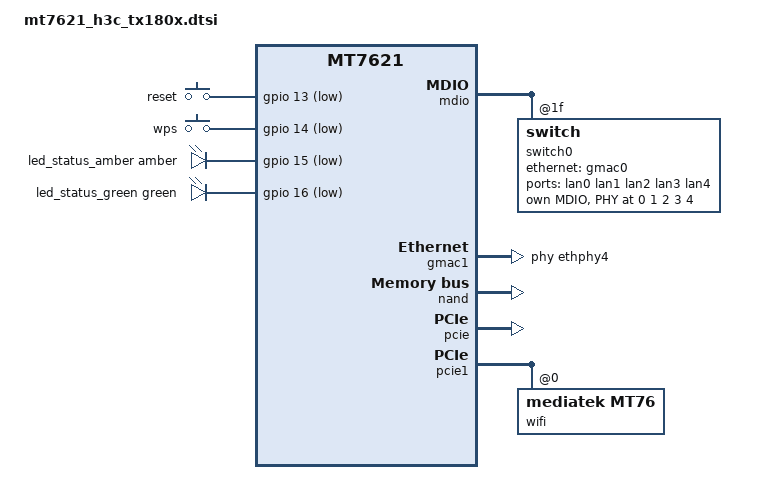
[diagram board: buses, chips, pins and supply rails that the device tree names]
// SPDX-License-Identifier: GPL-2.0-or-later OR MIT

#include "mt7621.dtsi"

#include <dt-bindings/gpio/gpio.h>
#include <dt-bindings/input/input.h>
#include <dt-bindings/leds/common.h>

/ {
	aliases {
		led-boot = &led_status_amber;
		led-failsafe = &led_status_green;
		led-running = &led_status_green;
		led-upgrade = &led_status_amber;
	};

	chosen {
		bootargs = "console=ttyS0,115200";
		bootargs-override = "console=ttyS0,115200";
	};

	keys {
		compatible = "gpio-keys";

		reset {
			label = "reset";
			gpios = <&gpio 13 GPIO_ACTIVE_LOW>;
			linux,code = <KEY_RESTART>;
		};

		wps {
			label = "wps";
			gpios = <&gpio 14 GPIO_ACTIVE_LOW>;
			linux,code = <KEY_WPS_BUTTON>;
		};
	};

	leds {
		compatible = "gpio-leds";

		led_status_amber: led-0 {
			color = <LED_COLOR_ID_AMBER>;
			function = LED_FUNCTION_STATUS;
			gpios = <&gpio 15 GPIO_ACTIVE_LOW>;
		};

		led_status_green: led-1 {
			color = <LED_COLOR_ID_GREEN>;
			function = LED_FUNCTION_STATUS;
			gpios = <&gpio 16 GPIO_ACTIVE_LOW>;
		};
	};
};

&mdio {
	#address-cells = <1>;
	#size-cells = <0>;

	switch0: switch@1f {
		mdio {
			#address-cells = <1>;
			#size-cells = <0>;

			ethphy0: ethernet-phy@0 {
				reg = <0>;
				interrupts = <0>;
			};

			ethphy1: ethernet-phy@1 {
				reg = <1>;
				interrupts = <1>;
			};

			ethphy2: ethernet-phy@2 {
				reg = <2>;
				interrupts = <2>;
			};

			ethphy3: ethernet-phy@3 {
				reg = <3>;
				interrupts = <3>;
			};

			ethphy4: ethernet-phy@4 {
				reg = <4>;
				interrupts = <4>;
			};
		};

		ports {
			#address-cells = <1>;
			#size-cells = <0>;

			port@0 {
				status = "disabled";
				reg = <0>;
				label = "lan0";
				phy-handle = <&ethphy0>;
			};

			port@1 {
				status = "disabled";
				reg = <1>;
				label = "lan1";
				phy-handle = <&ethphy1>;
			};

			port@2 {
				status = "disabled";
				reg = <2>;
				label = "lan2";
				phy-handle = <&ethphy2>;
			};

			port@3 {
				status = "disabled";
				reg = <3>;
				label = "lan3";
				phy-handle = <&ethphy3>;
			};

			port@4 {
				status = "disabled";
				reg = <4>;
				label = "lan4";
				phy-handle = <&ethphy4>;
			};

			port@6 {
				reg = <6>;
				ethernet = <&gmac0>;
				phy-mode = "rgmii";

				fixed-link {
					speed = <1000>;
					full-duplex;
					pause;
				};
			};
		};
	};
};

&gmac1 {
	status = "okay";
	label = "wan";
	phy-handle = <&ethphy4>;
};

&ethphy4 {
	/delete-property/ interrupts;
};

&nand {
	status = "okay";

	mediatek,nmbm;
	mediatek,bmt-max-ratio = <1>;
	mediatek,bmt-max-reserved-blocks = <64>;
	mediatek,bmt-remap-range = <0x0000000 0x0a00000>;

	partitions {
		compatible = "fixed-partitions";
		#address-cells = <1>;
		#size-cells = <1>;

		partition@0 {
			label = "u-boot";
			reg = <0x0000000 0x0080000>;
			read-only;
		};

		partition@80000 {
			label = "u-boot-env";
			reg = <0x0080000 0x0080000>;
		};

		partition@100000 {
			label = "exp";
			reg = <0x0100000 0x0080000>;
			read-only;
		};

		partition@180000 {
			label = "factory";
			reg = <0x0180000 0x0080000>;
			read-only;

			nvmem-layout {
				compatible = "fixed-layout";
				#address-cells = <1>;
				#size-cells = <1>;

				eeprom_factory_0: eeprom@0 {
					reg = <0x0 0xe00>;
				};
			};
		};

		partition@200000 {
			label = "firmware";
			reg = <0x0200000 0x7600000>;

			compatible = "fixed-partitions";
			#address-cells = <1>;
			#size-cells = <1>;

			partition@0 {
				label = "kernel";
				reg = <0x0000000 0x0800000>;
			};

			partition@800000 {
				label = "ubi";
				reg = <0x0800000 0x6e00000>;
			};
		};

		/* last 8 MiB is reserved for NMBM bad block table */
	};
};

&pcie {
	status = "okay";
};

&pcie1 {
	wifi@0,0 {
		compatible = "mediatek,mt76";
		reg = <0x0000 0 0 0 0>;
		nvmem-cells = <&eeprom_factory_0>;
		nvmem-cell-names = "eeprom";
		mediatek,disable-radar-background;
	};
};

&state_default {
	gpio {
		groups = "jtag";
		function = "gpio";
	};
};

&switch0 {
	ports {
		port@1 {
			status = "okay";
			label = "lan1";
		};

		port@2 {
			status = "okay";
			label = "lan2";
		};

		port@3 {
			status = "okay";
			label = "lan3";
		};
	};
};

&xhci {
	status = "disabled";
};
